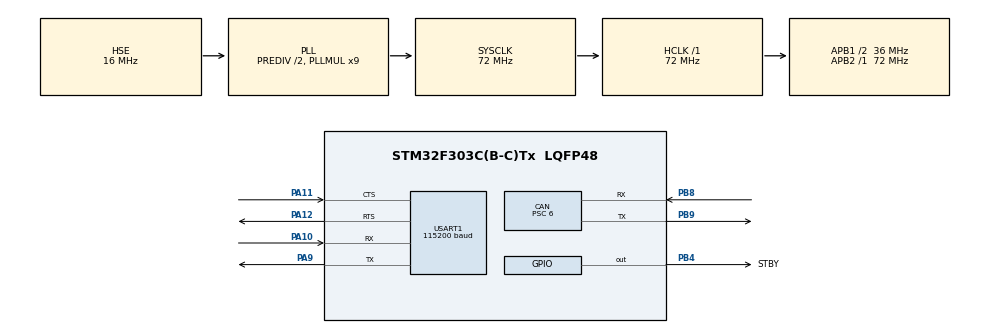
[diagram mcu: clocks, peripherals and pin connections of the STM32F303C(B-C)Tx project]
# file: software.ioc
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Mcu.Family=STM32F3
FREERTOS.Queues01=uartTxQueue,16,int,0,Dynamic,NULL,NULL;canRxQueue,16,int,0,Dynamic,NULL,NULL;canTxQueue,16,int,0,Dynamic,NULL,NULL
RCC.CortexFreq_Value=72000000
NVIC.DMA1_Channel5_IRQn=true\:5\:0\:false\:false\:true\:true\:false\:true
USART1.BaudRate=115200
RCC.SYSCLKSourceVirtual=RCC_SYSCLKSOURCE_PLLCLK
PA11.Mode=CTS_RTS
ProjectManager.StackSize=0x400
Dma.USART1_TX.0.Priority=DMA_PRIORITY_LOW
PA12.Signal=USART1_RTS
CAN.Prescaler=6
Dma.USART1_TX.0.Direction=DMA_MEMORY_TO_PERIPH
RCC.HCLKFreq_Value=72000000
RCC.APB2TimFreq_Value=72000000
Dma.USART1_RX.1.MemInc=DMA_MINC_ENABLE
RCC.AHBFreq_Value=72000000
RCC.HSE_VALUE=16000000
Dma.USART1_RX.1.PeriphDataAlignment=DMA_PDATAALIGN_BYTE
PB3.Mode=Trace_Asynchronous_SW
RCC.RCC_PLLsource_Clock_Source_FROM_HSE=RCC_HSE_PREDIV_DIV2
RCC.PLLMUL=RCC_PLL_MUL9
PA14.Mode=Trace_Asynchronous_SW
VP_SYS_VS_tim1.Mode=TIM1
TIM6.Period=60000
VP_FREERTOS_VS_CMSIS_V1.Mode=CMSIS_V1
Dma.USART1_TX.0.PeriphDataAlignment=DMA_PDATAALIGN_BYTE
CAN.CalculateTimeQuantum=166.66666666666669
FREERTOS.configTOTAL_HEAP_SIZE=4096
Dma.USART1_RX.1.Mode=DMA_CIRCULAR
Mcu.Package=LQFP48
PB9.Signal=CAN_TX
NVIC.TimeBase=TIM1_UP_TIM16_IRQn
NVIC.TimeBaseIP=TIM1
PA10.Signal=USART1_RX
Dma.USART1_TX.0.Instance=DMA1_Channel4
Dma.USART1_RX.1.PeriphInc=DMA_PINC_DISABLE
Dma.Request1=USART1_RX
RCC.APB1TimFreq_Value=72000000
NVIC.USB_HP_CAN_TX_IRQn=true\:5\:0\:false\:false\:true\:true\:true\:true
CAN.AWUM=DISABLE
Dma.USART1_RX.1.Priority=DMA_PRIORITY_LOW
NVIC.DMA1_Channel4_IRQn=true\:5\:0\:false\:false\:true\:true\:false\:true
NVIC.USART1_IRQn=true\:5\:0\:false\:false\:true\:true\:true\:true
PF1-OSC_OUT.Mode=HSE-External-Oscillator
Dma.Request0=USART1_TX
PF1-OSC_OUT.Signal=RCC_OSC_OUT
PB4.Signal=GPIO_Output
RCC.PLLSourceVirtual=RCC_PLLSOURCE_HSE
Dma.USART1_RX.1.Instance=DMA1_Channel5
NVIC.CAN_RX1_IRQn=true\:5\:0\:false\:false\:true\:true\:true\:true
Dma.USART1_RX.1.MemDataAlignment=DMA_MDATAALIGN_BYTE
FREERTOS.Tasks01=defaultTask,0,128,StartDefaultTask,Default,NULL,Dynamic,NULL,NULL;uartRxDmaTask,-3,128,StartTaskUartRxDmaTask,Default,NULL,Dynamic,NULL,NULL
Dma.USART1_TX.0.MemInc=DMA_MINC_ENABLE
Dma.USART1_TX.0.PeriphInc=DMA_PINC_DISABLE
PA10.Mode=Asynchronous
CAN.CalculateBaudRate=500000
NVIC.USB_LP_CAN_RX0_IRQn=true\:5\:0\:false\:false\:true\:true\:true\:true
TIM6.Prescaler=35999
VP_TIM6_VS_ClockSourceINT.Mode=Enable_Timer
RCC.APB1CLKDivider=RCC_HCLK_DIV2
CAN.CalculateTimeBit=1999.99
USART1.VirtualMode-Asynchronous=VM_ASYNC
PA13.Signal=SYS_JTMS-SWDIO
PA9.Mode=Asynchronous
CAN.BS2=CAN_BS2_5TQ
CAN.BS1=CAN_BS1_6TQ
ProjectManager.TargetToolchain=STM32CubeIDE
FREERTOS.configUSE_TRACE_FACILITY=1
PB9.Mode=CAN_Activate
PA9.Signal=USART1_TX
RCC.USBFreq_Value=72000000
RCC.LSE_VALUE=32768
PF0-OSC_IN.Mode=HSE-External-Oscillator
Dma.USART1_TX.0.Mode=DMA_NORMAL
board=custom
RCC.APB2Freq_Value=72000000
PB4.GPIO_Label=STBY
TIM6.TIM_MasterOutputTrigger=TIM_TRGO_RESET
PA13.Mode=Trace_Asynchronous_SW
Mcu.Name=STM32F303C(B-C)Tx
PB3.Signal=SYS_JTDO-TRACESWO
RCC.SYSCLKFreq_VALUE=72000000
FREERTOS.configUSE_COUNTING_SEMAPHORES=1
PA12.Mode=CTS_RTS
PA11.Signal=USART1_CTS
Dma.USART1_TX.0.MemDataAlignment=DMA_MDATAALIGN_BYTE
PA14.Signal=SYS_JTCK-SWCLK
ProjectManager.HeapSize=0x200
FREERTOS.configUSE_RECURSIVE_MUTEXES=1
RCC.HSI_VALUE=8000000
NVIC.TIM1_UP_TIM16_IRQn=true\:0\:0\:false\:false\:true\:false\:false\:true
NVIC.PriorityGroup=NVIC_PRIORITYGROUP_4
PB8.Mode=CAN_Activate
PB8.Signal=CAN_RX
Dma.USART1_RX.1.Direction=DMA_PERIPH_TO_MEMORY
PF0-OSC_IN.Signal=RCC_OSC_IN
RCC.APB1Freq_Value=36000000
NVIC.CAN_SCE_IRQn=true\:5\:0\:false\:false\:true\:true\:true\:true

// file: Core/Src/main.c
/* USER CODE BEGIN Header */
/**
  ******************************************************************************
  * @file           : main.c
  * @brief          : Main program body
  ******************************************************************************
  * @attention
  *
  * <h2><center>&copy; Copyright (c) 2021 STMicroelectronics.
  * All rights reserved.</center></h2>
  *
  * This software component is licensed by ST under Ultimate Liberty license
  * SLA0044, the "License"; You may not use this file except in compliance with
  * the License. You may obtain a copy of the License at:
  *                             www.st.com/SLA0044
  *
  ******************************************************************************
  */
/* USER CODE END Header */
#include "main.h"
#include "cmsis_os.h"

/* USER CODE BEGIN Includes */
#include <string.h>
#include <stdlib.h>
#include <stdio.h>
#include "canhacker.h"
#include "sn65hvd230dr.h"
/* USER CODE END Includes */

/* USER CODE BEGIN PD */
#define UART_RX_LINE_BUFFER 80
#define UART_RX_BUFFER 256
#define UART_RX_BUFFERS_COUNT 2
/* USER CODE END PD */

/* USER CODE BEGIN PTD */
typedef struct {
    uint8_t buffer[UART_RX_BUFFER];
    uint8_t readed;
    uint8_t filled;
    int offset;
} UART_DMA_RX_Buffer;
/* USER CODE END PTD */

/* USER CODE BEGIN PD */
#define UART_RX_LINE_BUFFER 80
#define UART_RX_BUFFER 256
#define UART_RX_BUFFERS_COUNT 2
/* USER CODE END PD */

CAN_HandleTypeDef hcan1;

TIM_HandleTypeDef htim6;

UART_HandleTypeDef huart1;
DMA_HandleTypeDef hdma_usart1_tx;
DMA_HandleTypeDef hdma_usart1_rx;

osThreadId defaultTaskHandle;
osThreadId uartRxDmaTaskHandle;
osMessageQId uartTxQueueHandle;
osMessageQId canRxQueueHandle;
osMessageQId canTxQueueHandle;
/* USER CODE BEGIN PV */

int uartLineIndex = 0;
uint8_t uartLine[UART_RX_LINE_BUFFER];
static CanTxMsgTypeDef CanTxMessage;
uint32_t Mailbox;
CanHacker_HandleTypeDef hcanHacker;
UART_DMA_RX_Buffer uartRxBuffer[UART_RX_BUFFERS_COUNT] = {
        {.readed = 1, .filled = 0, .offset = 0},
        {.readed = 1, .filled = 0, .offset = 0}
};
uint8_t currentUartRxBuffer = 0;
uint8_t currentUartRxBufferToRead = 0;
CAN_FilterTypeDef canFilterConfig;
/* USER CODE END PV */

void SystemClock_Config(void);

static void MX_GPIO_Init(void);

static void MX_DMA_Init(void);

static void MX_CAN_Init(void);

static void MX_USART1_UART_Init(void);

static void MX_TIM6_Init(void);

void StartDefaultTask(void const *argument);

void StartTaskUartRxDmaTask(void const *argument);

/* USER CODE BEGIN PFP */
void throwError(char *msg);

void txUart();

void txCan();

void transmitErrorMessage(char *message);
/* USER CODE END PFP */

int main(void) {

    /* MCU Configuration--------------------------------------------------------*/

    /* Reset of all peripherals, Initializes the Flash interface and the Systick. */
    HAL_Init();

    /* Configure the system clock */
    SystemClock_Config();

    /* Initialize all configured peripherals */
    MX_GPIO_Init();
    MX_DMA_Init();
    MX_CAN_Init();
    MX_USART1_UART_Init();
    MX_TIM6_Init();
    /* USER CODE BEGIN 2 */
    sn65Hvd230DrStandbyMode();
    CanHacker_Init(&hcanHacker);

    canFilterConfig.FilterBank = 0;
    canFilterConfig.FilterMode = CAN_FILTERMODE_IDMASK;
    canFilterConfig.FilterScale = CAN_FILTERSCALE_32BIT;
    canFilterConfig.FilterIdHigh = 0x0000;
    canFilterConfig.FilterIdLow = 0x0000;
    canFilterConfig.FilterMaskIdHigh = 0x0000;
    canFilterConfig.FilterMaskIdLow = 0x0000;
    canFilterConfig.FilterFIFOAssignment = CAN_FILTER_FIFO0;
    canFilterConfig.FilterActivation = CAN_FILTER_ENABLE;
    canFilterConfig.SlaveStartFilterBank = 1;

    HAL_CAN_ConfigFilter(&hcan1, &canFilterConfig);
    HAL_CAN_Start(&hcan1);
    HAL_CAN_ActivateNotification(&hcan1, CAN_IT_RX_FIFO0_MSG_PENDING);
    /* USER CODE END 2 */

    /* Create the queue(s) */
    /* definition and creation of uartTxQueue */
    osMessageQDef(uartTxQueue, 16, int);
    uartTxQueueHandle = osMessageCreate(osMessageQ(uartTxQueue), NULL);

    /* definition and creation of canRxQueue */
    osMessageQDef(canRxQueue, 16, int);
    canRxQueueHandle = osMessageCreate(osMessageQ(canRxQueue), NULL);

    /* definition and creation of canTxQueue */
    osMessageQDef(canTxQueue, 16, int);
    canTxQueueHandle = osMessageCreate(osMessageQ(canTxQueue), NULL);

    /* Create the thread(s) */
    /* definition and creation of defaultTask */
    osThreadDef(defaultTask, StartDefaultTask, osPriorityNormal, 0, 128);
    defaultTaskHandle = osThreadCreate(osThread(defaultTask), NULL);

    /* definition and creation of uartRxDmaTask */
    osThreadDef(uartRxDmaTask, StartTaskUartRxDmaTask, osPriorityIdle, 0, 128);
    uartRxDmaTaskHandle = osThreadCreate(osThread(uartRxDmaTask), NULL);

    /* Start scheduler */
    osKernelStart();

    /* We should never get here as control is now taken by the scheduler */
    /* Infinite loop */
    while (1) {

    }
}

void SystemClock_Config(void) {
    RCC_OscInitTypeDef RCC_OscInitStruct = {0};
    RCC_ClkInitTypeDef RCC_ClkInitStruct = {0};
    RCC_PeriphCLKInitTypeDef PeriphClkInit = {0};

    /** Initializes the RCC Oscillators according to the specified parameters
    * in the RCC_OscInitTypeDef structure.
    */
    RCC_OscInitStruct.OscillatorType = RCC_OSCILLATORTYPE_HSE;
    RCC_OscInitStruct.HSEState = RCC_HSE_ON;
    RCC_OscInitStruct.HSEPredivValue = RCC_HSE_PREDIV_DIV2;
    RCC_OscInitStruct.HSIState = RCC_HSI_ON;
    RCC_OscInitStruct.PLL.PLLState = RCC_PLL_ON;
    RCC_OscInitStruct.PLL.PLLSource = RCC_PLLSOURCE_HSE;
    RCC_OscInitStruct.PLL.PLLMUL = RCC_PLL_MUL9;
    if (HAL_RCC_OscConfig(&RCC_OscInitStruct) != HAL_OK) {
        Error_Handler();
    }
    /** Initializes the CPU, AHB and APB buses clocks
    */
    RCC_ClkInitStruct.ClockType = RCC_CLOCKTYPE_HCLK | RCC_CLOCKTYPE_SYSCLK
                                  | RCC_CLOCKTYPE_PCLK1 | RCC_CLOCKTYPE_PCLK2;
    RCC_ClkInitStruct.SYSCLKSource = RCC_SYSCLKSOURCE_PLLCLK;
    RCC_ClkInitStruct.AHBCLKDivider = RCC_SYSCLK_DIV1;
    RCC_ClkInitStruct.APB1CLKDivider = RCC_HCLK_DIV2;
    RCC_ClkInitStruct.APB2CLKDivider = RCC_HCLK_DIV1;

    if (HAL_RCC_ClockConfig(&RCC_ClkInitStruct, FLASH_LATENCY_2) != HAL_OK) {
        Error_Handler();
    }
    PeriphClkInit.PeriphClockSelection = RCC_PERIPHCLK_USART1;
    PeriphClkInit.Usart1ClockSelection = RCC_USART1CLKSOURCE_PCLK2;
    if (HAL_RCCEx_PeriphCLKConfig(&PeriphClkInit) != HAL_OK) {
        Error_Handler();
    }
}

static void MX_CAN_Init(void) {

    /* USER CODE BEGIN CAN_Init 0 */
    HAL_StatusTypeDef canInitResult = HAL_OK;
    /* USER CODE END CAN_Init 0 */

    hcan1.Instance = CAN;
    hcan1.Init.Prescaler = 6;
    hcan1.Init.Mode = CAN_MODE_NORMAL;
    hcan1.Init.SyncJumpWidth = CAN_SJW_1TQ;
    hcan1.Init.TimeSeg1 = CAN_BS1_6TQ;
    hcan1.Init.TimeSeg2 = CAN_BS2_5TQ;
    hcan1.Init.TimeTriggeredMode = DISABLE;
    hcan1.Init.AutoBusOff = DISABLE;
    hcan1.Init.AutoWakeUp = DISABLE;
    hcan1.Init.AutoRetransmission = DISABLE;
    hcan1.Init.ReceiveFifoLocked = DISABLE;
    hcan1.Init.TransmitFifoPriority = DISABLE;
    if (HAL_CAN_Init(&hcan1) != HAL_OK) {
        Error_Handler();
    }
    /* USER CODE BEGIN CAN_Init 2 */
    canInitResult = HAL_CAN_Init(&hcan1);
    switch (canInitResult) {
        case HAL_ERROR:
            throwError("MX_CAN_INIT: error");
            break;
        case HAL_BUSY:
            throwError("MX_CAN_INIT: busy");
            break;
        case HAL_TIMEOUT:
            throwError("MX_CAL_INIT: timeout");
            break;
        default:
            break;
    }
    /* USER CODE END CAN_Init 2 */

}

static void MX_TIM6_Init(void) {

    TIM_MasterConfigTypeDef sMasterConfig = {0};

    htim6.Instance = TIM6;
    htim6.Init.Prescaler = 35999;
    htim6.Init.CounterMode = TIM_COUNTERMODE_UP;
    htim6.Init.Period = 60000;
    htim6.Init.AutoReloadPreload = TIM_AUTORELOAD_PRELOAD_DISABLE;
    if (HAL_TIM_Base_Init(&htim6) != HAL_OK) {
        Error_Handler();
    }
    sMasterConfig.MasterOutputTrigger = TIM_TRGO_RESET;
    sMasterConfig.MasterSlaveMode = TIM_MASTERSLAVEMODE_DISABLE;
    if (HAL_TIMEx_MasterConfigSynchronization(&htim6, &sMasterConfig) != HAL_OK) {
        Error_Handler();
    }

}

static void MX_USART1_UART_Init(void) {

    huart1.Instance = USART1;
    huart1.Init.BaudRate = 115200;
    huart1.Init.WordLength = UART_WORDLENGTH_8B;
    huart1.Init.StopBits = UART_STOPBITS_1;
    huart1.Init.Parity = UART_PARITY_NONE;
    huart1.Init.Mode = UART_MODE_TX_RX;
    huart1.Init.HwFlowCtl = UART_HWCONTROL_RTS_CTS;
    huart1.Init.OverSampling = UART_OVERSAMPLING_16;
    huart1.Init.OneBitSampling = UART_ONE_BIT_SAMPLE_DISABLE;
    huart1.AdvancedInit.AdvFeatureInit = UART_ADVFEATURE_NO_INIT;
    if (HAL_UART_Init(&huart1) != HAL_OK) {
        Error_Handler();
    }

}

static void MX_DMA_Init(void) {

    /* DMA controller clock enable */
    __HAL_RCC_DMA1_CLK_ENABLE();

    /* DMA interrupt init */
    /* DMA1_Channel4_IRQn interrupt configuration */
    HAL_NVIC_SetPriority(DMA1_Channel4_IRQn, 5, 0);
    HAL_NVIC_EnableIRQ(DMA1_Channel4_IRQn);
    /* DMA1_Channel5_IRQn interrupt configuration */
    HAL_NVIC_SetPriority(DMA1_Channel5_IRQn, 5, 0);
    HAL_NVIC_EnableIRQ(DMA1_Channel5_IRQn);

}

static void MX_GPIO_Init(void) {
    GPIO_InitTypeDef GPIO_InitStruct = {0};

    /* GPIO Ports Clock Enable */
    __HAL_RCC_GPIOC_CLK_ENABLE();
    __HAL_RCC_GPIOF_CLK_ENABLE();
    __HAL_RCC_GPIOA_CLK_ENABLE();
    __HAL_RCC_GPIOB_CLK_ENABLE();

    /*Configure GPIO pin Output Level */
    HAL_GPIO_WritePin(STBY_GPIO_Port, STBY_Pin, GPIO_PIN_RESET);

    /*Configure GPIO pins : PC13 PC14 PC15 */
    GPIO_InitStruct.Pin = GPIO_PIN_13 | GPIO_PIN_14 | GPIO_PIN_15;
    GPIO_InitStruct.Mode = GPIO_MODE_ANALOG;
    GPIO_InitStruct.Pull = GPIO_NOPULL;
    HAL_GPIO_Init(GPIOC, &GPIO_InitStruct);

    /*Configure GPIO pins : PA0 PA1 PA2 PA3
                             PA4 PA5 PA6 PA7
                             PA8 PA15 */
    GPIO_InitStruct.Pin = GPIO_PIN_0 | GPIO_PIN_1 | GPIO_PIN_2 | GPIO_PIN_3
                          | GPIO_PIN_4 | GPIO_PIN_5 | GPIO_PIN_6 | GPIO_PIN_7
                          | GPIO_PIN_8 | GPIO_PIN_15;
    GPIO_InitStruct.Mode = GPIO_MODE_ANALOG;
    GPIO_InitStruct.Pull = GPIO_NOPULL;
    HAL_GPIO_Init(GPIOA, &GPIO_InitStruct);

    /*Configure GPIO pins : PB0 PB1 PB2 PB10
                             PB11 PB12 PB13 PB14
                             PB15 PB5 PB6 PB7 */
    GPIO_InitStruct.Pin = GPIO_PIN_0 | GPIO_PIN_1 | GPIO_PIN_2 | GPIO_PIN_10
                          | GPIO_PIN_11 | GPIO_PIN_12 | GPIO_PIN_13 | GPIO_PIN_14
                          | GPIO_PIN_15 | GPIO_PIN_5 | GPIO_PIN_6 | GPIO_PIN_7;
    GPIO_InitStruct.Mode = GPIO_MODE_ANALOG;
    GPIO_InitStruct.Pull = GPIO_NOPULL;
    HAL_GPIO_Init(GPIOB, &GPIO_InitStruct);

    /*Configure GPIO pin : STBY_Pin */
    GPIO_InitStruct.Pin = STBY_Pin;
    GPIO_InitStruct.Mode = GPIO_MODE_OUTPUT_PP;
    GPIO_InitStruct.Pull = GPIO_NOPULL;
    GPIO_InitStruct.Speed = GPIO_SPEED_FREQ_LOW;
    HAL_GPIO_Init(STBY_GPIO_Port, &GPIO_InitStruct);

}

/* USER CODE BEGIN 4 */
void throwError(char *msg) {
    transmitErrorMessage(msg);
    while (1) {
        HAL_Delay(1000);
    }
}

void txUart() {
    HAL_UART_StateTypeDef result;
    HAL_UART_StateTypeDef state = HAL_UART_GetState(&huart1);

    if (state != HAL_UART_STATE_BUSY_TX_RX && state != HAL_UART_STATE_BUSY_TX) {
        osEvent event = osMessageGet(uartTxQueueHandle, osWaitForever);
        if (event.status == osEventMessage) {
            char *str = event.value.p;
            unsigned int len = strlen(str);
            if (len > 0) {
                result = HAL_UART_Transmit_DMA(&huart1, (uint8_t *) str, len);
                switch (result) {
                    case HAL_ERROR:
                        throwError("HAL_UART_Transmit_IT: error");
                        break;
                    case HAL_BUSY:
                        throwError("HAL_UART_Transmit_IT: busy");
                        break;
                    case HAL_TIMEOUT:
                        throwError("HAL_UART_Transmit_IT: timeout");
                        break;
                    default:
                        break;
                }
            } else {
                free(str);
            }
        }
    } else {}
}

void HAL_UART_TxCpltCallback(UART_HandleTypeDef *huart) {
    if (huart->pTxBuffPtr) {
        free(huart->pTxBuffPtr);
    }
    txUart();
}

void startUartDmaReceive(UART_HandleTypeDef *huart, UART_DMA_RX_Buffer *uartDmaRxBuffer) {
    uartDmaRxBuffer->readed = 0;
    HAL_StatusTypeDef result = HAL_UART_Receive_DMA(huart, uartDmaRxBuffer->buffer, UART_RX_BUFFER);
    switch (result) {
        case HAL_ERROR:
            throwError("HAL_UART_Receive_DMA: error");
            break;
        case HAL_BUSY:
            throwError("HAL_UART_Receive_DMA: busy");
            break;
        case HAL_TIMEOUT:
            throwError("HAL_UART_Receive_DMA: timeout");
            break;
        default:
            break;
    }
}

void HAL_UART_RxCpltCallback(UART_HandleTypeDef *huart) {
    if (huart->Instance == USART1) {
        uartRxBuffer[currentUartRxBuffer].filled = 1;
        currentUartRxBuffer++;
        currentUartRxBuffer %= UART_RX_BUFFERS_COUNT;
        if (!uartRxBuffer[currentUartRxBuffer].readed) {
            throwError("UART RX OVERRUN");
        }
        startUartDmaReceive(huart, &uartRxBuffer[currentUartRxBuffer]);
    }
}

void HAL_UART_ErrorCallback(UART_HandleTypeDef *huart) {
    uint32_t code = huart->ErrorCode;
    if (code & HAL_UART_ERROR_PE) {
        throwError("UART error: Parity error");
    }
    if (code & HAL_UART_ERROR_NE) {
        throwError("UART error: Noise error");
    }
    if (code & HAL_UART_ERROR_FE) {
        throwError("UART error: Frame error");
    }
    if (code & HAL_UART_ERROR_ORE) {
        throwError("UART error: Overrun error");
    }
    if (code & HAL_UART_ERROR_DMA) {
        throwError("UART error: DMA error");
    }
    char str[80];
    sprintf(str, "Uart error code: %X", (unsigned int) code);
    throwError(str);
}

void HAL_CAN_TxMailbox0CompleteCallback(CAN_HandleTypeDef *hcan) {
    printf("HAL_CAN_TxMailbox0CompleteCallback\n");
    txCan();
}

void HAL_CAN_RxFifo0MsgPendingCallback(CAN_HandleTypeDef *hcan) {
    HAL_StatusTypeDef result = HAL_OK;
    CanRxMsgTypeDef *rxMsg = malloc(sizeof(CanRxMsgTypeDef));
    result = HAL_CAN_GetRxMessage(hcan, CAN_RX_FIFO0, &rxMsg->header, rxMsg->data);
    switch (result) {
        case HAL_ERROR:
            throwError("HAL_CAN_RxFifo0MsgPendingCallback: error");
            break;
        case HAL_BUSY:
            throwError("HAL_CAN_RxFifo0MsgPendingCallback: busy");
            break;
        case HAL_TIMEOUT:
            throwError("HAL_CAN_RxFifo0MsgPendingCallback: timeout");
            break;
        default:
            break;
    }
    osMessagePut(canRxQueueHandle, (uint32_t) rxMsg, osWaitForever);
}

void HAL_CAN_ErrorCallback(CAN_HandleTypeDef *hcan) {
    throwError("HAL_CAN_ErrorCallback");
}

void txCan() {
    if (hcan1.State == HAL_CAN_STATE_READY) {
        osEvent event = osMessageGet(canTxQueueHandle, osWaitForever);
        if (event.status == osEventMessage) {
            CanTxMessage = *(CanTxMsgTypeDef *) event.value.p;
            HAL_StatusTypeDef result = HAL_CAN_AddTxMessage(&hcan1, &CanTxMessage.header, CanTxMessage.data, &Mailbox);
            free(event.value.p);
            switch (result) {
                case HAL_ERROR:
                    throwError("HAL_CAN_AddTxMessage: error");
                    break;
                case HAL_BUSY:
                    throwError("HAL_CAN_AddTxMessage: busy");
                    break;
                case HAL_TIMEOUT:
                    throwError("HAL_CAN_AddTxMessage: timeout");
                    break;
                default:
                    break;
            }
            switch (hcan1.ErrorCode) {
                case HAL_CAN_ERROR_EWG:
                case HAL_CAN_ERROR_EPV:
                case HAL_CAN_ERROR_BOF:
                case HAL_CAN_ERROR_STF:
                case HAL_CAN_ERROR_FOR:
                case HAL_CAN_ERROR_ACK:
                case HAL_CAN_ERROR_BR:
                case HAL_CAN_ERROR_BD:
                case HAL_CAN_ERROR_CRC:
                    throwError("TXCAN advanced error");
                default:
                    break;
            }
        }
    }
}

void transmitErrorMessage(char *message) {
    unsigned int len = strlen((char *) message);
    char *str = malloc(len + 3);
    memcpy(str, message, len);
    str[len] = '\r';
    str[len + 1] = '\n';
    str[len + 2] = '\0';
    osMessagePut(uartTxQueueHandle, (uint32_t) str, osWaitForever);
    txUart();
}

void gotoNextBufferToRead() {
    if (currentUartRxBufferToRead != currentUartRxBuffer) {
        currentUartRxBufferToRead++;
        currentUartRxBufferToRead %= UART_RX_BUFFERS_COUNT;
    }
}

int processUartDMABuffer(UART_HandleTypeDef *huart, UART_DMA_RX_Buffer *uartDmaRxBuffer) {
    int itemsProcessed = 0;
    if (uartDmaRxBuffer->readed) {
        return itemsProcessed;
    }
    int64_t dmaOffset;
    if (uartDmaRxBuffer->filled) {
        dmaOffset = UART_RX_BUFFER;
    } else {
        dmaOffset = huart->RxXferSize - huart->hdmarx->Instance->CNDTR;
    }
    int64_t bytesReady = dmaOffset - uartDmaRxBuffer->offset;
    if (bytesReady > 0) {
        while (uartDmaRxBuffer->offset < dmaOffset) {
            uint8_t c = uartDmaRxBuffer->buffer[uartDmaRxBuffer->offset];
            switch (c) {
                case '\0':
                case '\r':
                case '\n':
                    if (uartLineIndex > 0) {
                        uartLine[uartLineIndex++] = '\0';
                        //uint8_t *str = malloc(uartLineIndex);
                        //memcpy(str, uartLine, uartLineIndex);
                        CanHacker_Receive_Cmd(&hcanHacker, uartLine);
                        uartLineIndex = 0;
                        /*osStatus status = osMessagePut(uartRxQueueHandle, (uint32_t)str, osWaitForever);
                        switch (status) {
                            case osOK:
                                break;
                            default:
                                throwError("Error put to queue");
                                break;
                        }*/
                    }
                    break;
                default:
                    uartLine[uartLineIndex++] = c;
                    break;
            }
            uartDmaRxBuffer->offset++;
        }
        itemsProcessed++;
    }
    if (uartDmaRxBuffer->offset >= UART_RX_BUFFER) {
        uartDmaRxBuffer->readed = 1;
        uartDmaRxBuffer->offset = 0;
        uartDmaRxBuffer->filled = 0;
        gotoNextBufferToRead();
    }
    return itemsProcessed;
}

void CanHacker_ErrorCallback(CanHacker_HandleTypeDef *canHacker, char *message) {
    throwError(message);
}

void CanHacker_CanTxMsgReadyCallback(CanHacker_HandleTypeDef *canHacker, CanTxMsgTypeDef *txMsg) {
    CanTxMsgTypeDef *txMsgQ = malloc(sizeof(CanTxMsgTypeDef));
    memcpy(txMsgQ, txMsg, sizeof(CanTxMsgTypeDef));
    osMessagePut(canTxQueueHandle, (uint32_t) txMsgQ, osWaitForever);
    txCan();
}

void CanHacker_UartMsgReadyCallback(CanHacker_HandleTypeDef *canHacker, uint8_t *line) {
    unsigned int len = strlen((char *) line);
    char *str = malloc(len + 1);
    memcpy(str, line, len + 1);
    osMessagePut(uartTxQueueHandle, (uint32_t) str, osWaitForever);
    txUart();
}

uint32_t CanHacker_GetTimestampCallback(CanHacker_HandleTypeDef *canHacker) {
    return htim6.Instance->CNT;
}

void CanHacker_StartTimerCallback(CanHacker_HandleTypeDef *canHacker) {
    HAL_TIM_Base_Start(&htim6);
}

void CanHacker_StopTimerCallback(CanHacker_HandleTypeDef *canHacker) {
    HAL_TIM_Base_Stop(&htim6);
}
/* USER CODE END 4 */

void StartDefaultTask(void const *argument) {
    /* USER CODE BEGIN 5 */
    /* Infinite loop */
    for (;;) {
        int itemsProcessed = 0;
        osEvent canEvent = osMessageGet(canRxQueueHandle, osWaitForever);
        if (canEvent.status = osEventMessage) {
            CanHacker_Receive_CanMsg(&hcanHacker, (CanRxMsgTypeDef *) canEvent.value.p);
            free(canEvent.value.p);
            itemsProcessed++;
        }
        if (!itemsProcessed) {
            osDelay(1);
        }
    }
    /* USER CODE END 5 */
}

void StartTaskUartRxDmaTask(void const *argument) {
    /* USER CODE BEGIN StartTaskUartRxDmaTask */
    currentUartRxBuffer = 0;
    currentUartRxBufferToRead = 0;
    startUartDmaReceive(&huart1, &uartRxBuffer[currentUartRxBuffer]);
    /* Infinite loop */
    for (;;) {
        int itemsProcessed = processUartDMABuffer(&huart1, &uartRxBuffer[currentUartRxBufferToRead]);
        if (!itemsProcessed) {
            osDelay(1);
        }
    }
    /* USER CODE END StartTaskUartRxDmaTask */
}

void HAL_TIM_PeriodElapsedCallback(TIM_HandleTypeDef *htim) {
    if (htim->Instance == TIM1) {
        HAL_IncTick();
    }
}

void Error_Handler(void) {
    __disable_irq();
    while (1) {
    }
}

/************************ (C) COPYRIGHT STMicroelectronics *****END OF FILE****/
